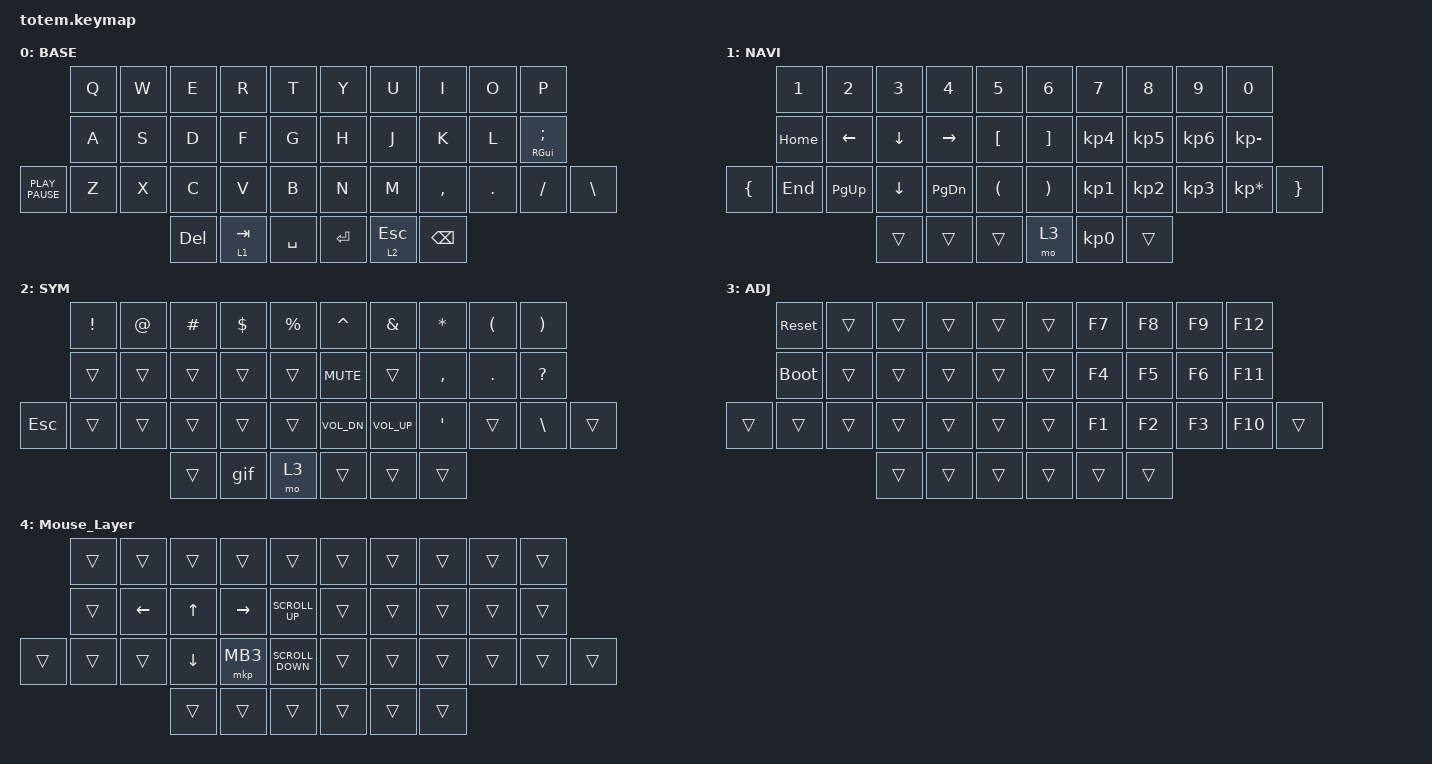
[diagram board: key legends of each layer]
//
//                                                        ▀▀▀▀▀     ▀▀▀▀▀          ▀▀█▀▀
//                                                        ▄▀▀▀▄  ▄  ▄▀▀▀▄  ▄  ▄▀▀▀▄  █  ▄▀▀▀▄
//                                                        █   █  █  █   █  █  █   █  █  █   █
//                                                         ▀▀▀   █   ▀▀▀   █   ▀▀▀   ▀   ▀▀▀
//                                                               █      ▄▄▄█▄▄▄    █   █  
//                                                               ▀      █  █  █     █▄█
//                                                             ▀▀▀▀▀    █  █  █      ▀
//                                                                      ▀  ▀  ▀
//
// ▄▄▄▄▄▄▄▄▄▄▄▄▄▄▄▄▄▄▄▄▄▄▄▄▄▄▄▄▄▄▄▄▄▄▄▄▄▄▄▄▄▄▄▄▄▄▄▄▄▄▄▄▄▄▄▄▄▄▄▄▄▄▄▄▄▄▄▄▄▄▄▄▄▄▄▄▄▄▄▄▄▄▄▄▄▄▄▄▄▄▄▄▄▄▄▄▄▄▄▄▄▄▄▄▄▄▄▄▄▄▄▄▄▄▄▄▄▄▄▄▄▄▄▄▄▄▄▄▄▄▄▄▄▄▄▄▄▄▄▄▄▄▄▄▄▄▄▄▄

#include <behaviors.dtsi>
#include <dt-bindings/zmk/keys.h>
#include <dt-bindings/zmk/mouse.h>

#define BASE 0
#define NAV  1
#define SYM  2
#define ADJ  3
#define TVP1 4
#define TVP2 5

&mt {
    quick-tap-ms = <100>;
    global-quick-tap;
    flavor = "tap-preferred";
    tapping-term-ms = <170>;
};

/ {
    combos {
        compatible = "zmk,combos";

        combo_esc {
            timeout-ms = <50>;
            key-positions = <0 1>;
            bindings = <&kp ESC>;
        };

        combo_tvp {
            timeout-ms = <100>;
            key-positions = <11 12 13>;
            bindings = <&tog 0>;
        };
    };

    macros {
        gif: gif {
            label = "giphy";
            compatible = "zmk,behavior-macro";
            #binding-cells = <0>;
            bindings =
                <&macro_press>,
                <&kp LSHFT>,
                <&macro_tap>,
                <&kp N2>,
                <&macro_release>,
                <&kp LSHFT>,
                <&macro_tap>,
                <&kp G &kp I &kp F>;
        };
    };

    keymap {
        compatible = "zmk,keymap";

        // ▄▄▄▄▄▄▄▄▄▄▄▄▄▄▄▄▄▄▄▄▄▄▄▄▄▄▄▄▄▄▄▄▄▄▄▄▄▄▄▄▄▄▄▄▄▄▄▄▄▄▄▄▄▄▄▄▄▄▄▄▄▄▄▄▄▄▄▄▄▄▄▄▄▄▄▄▄▄▄▄▄▄▄▄▄▄▄▄▄▄▄▄▄▄▄▄▄▄▄▄▄▄▄▄▄▄▄▄▄▄▄▄▄▄▄▄▄▄▄▄▄▄▄▄▄▄▄▄▄▄▄▄▄▄▄▄▄▄▄▄▄▄▄▄▄▄▄▄▄

        base_layer {
            // ┏━━━━━━━━━━━━━━━━━━━━━━━━━━━━━━━━━━━━━━━┓

            label = "BASE";

            // ┗━━━━━━━━━━━━━━━━━━━━━━━━━━━━━━━━━━━━━━━┛
            //             ┏━━━━━━━━━━━┳━━━━━━━━━━━┳━━━━━━━━━━━┳━━━━━━━━━━━┳━━━━━━━━━━━┓   ┏━━━━━━━━━━━┳━━━━━━━━━━━┳━━━━━━━━━━━┳━━━━━━━━━━━┳━━━━━━━━━━━┓
            //             ┃     Q     ┃     W     ┃     F     ┃     P     ┃     G     ┃   ┃     J     ┃     L     ┃     U     ┃     Y     ┃     ;     ┃
            //             ┣━━━━━━━━━━━╋━━━━━━━━━━━╋━━━━━━━━━━━╋━━━━━━━━━━━╋━━━━━━━━━━━┫   ┣━━━━━━━━━━━╋━━━━━━━━━━━╋━━━━━━━━━━━╋━━━━━━━━━━━╋━━━━━━━━━━━┫
            //             ┃     A     ┃     R     ┃     S     ┃     T     ┃     D     ┃   ┃     H     ┃     N     ┃     E     ┃     I     ┃     O     ┃
            // ┏━━━━━━━━━━━╋━━━━━━━━━━━╋━━━━━━━━━━━╋━━━━━━━━━━━╋━━━━━━━━━━━╋━━━━━━━━━━━┫   ┣━━━━━━━━━━━╋━━━━━━━━━━━╋━━━━━━━━━━━╋━━━━━━━━━━━╋━━━━━━━━━━━╋━━━━━━━━━━━┓
            // ┃     Q     ┃     Z     ┃     X     ┃     C     ┃     V     ┃     B     ┃   ┃     K     ┃     M     ┃     ,     ┃     .     ┃     /     ┃     \     ┃
            // ┗━━━━━━━━━━━┻━━━━━━━━━━━┻━━━━━━━━━━━╋━━━━━━━━━━━╋━━━━━━━━━━━╋━━━━━━━━━━━┫   ┣━━━━━━━━━━━╋━━━━━━━━━━━╋━━━━━━━━━━━╋━━━━━━━━━━━┻━━━━━━━━━━━┻━━━━━━━━━━━┛
            //                                     ┃    DEL    ┃    TAB    ┃    SPC    ┃   ┃   ENTER   ┃           ┃   BSPC    ┃
            //                                     ┗━━━━━━━━━━━┻━━━━━━━━━━━┻━━━━━━━━━━━┛   ┗━━━━━━━━━━━┻━━━━━━━━━━━┻━━━━━━━━━━━┛

            bindings = <
                  &kp Q  &kp W  &kp E    &kp R      &kp T        &kp Y    &kp U      &kp I      &kp O    &kp P
                  &kp A  &kp S  &kp D    &kp F      &kp G        &kp H    &kp J      &kp K      &kp L    &mt RGUI SEMICOLON
&kp K_PLAY_PAUSE  &kp Z  &kp X  &kp C    &kp V      &kp B        &kp N    &kp M      &kp COMMA  &kp DOT  &kp FSLH            &kp BSLH
                                &kp DEL  &lt 1 TAB  &kp SPACE    &kp RET  &lt 2 ESC  &kp BSPC
            >;
        };

        // ▄▄▄▄▄▄▄▄▄▄▄▄▄▄▄▄▄▄▄▄▄▄▄▄▄▄▄▄▄▄▄▄▄▄▄▄▄▄▄▄▄▄▄▄▄▄▄▄▄▄▄▄▄▄▄▄▄▄▄▄▄▄▄▄▄▄▄▄▄▄▄▄▄▄▄▄▄▄▄▄▄▄▄▄▄▄▄▄▄▄▄▄▄▄▄▄▄▄▄▄▄▄▄▄▄▄▄▄▄▄▄▄▄▄▄▄▄▄▄▄▄▄▄▄▄▄▄▄▄▄▄▄▄▄▄▄▄▄▄▄▄▄▄▄▄▄▄▄▄

        nav_layer {
            // ┏━━━━━━━━━━━━━━━━━━━━━━━━━━━━━━━━━━━━━━━┓

            label = "NAVI";

            // ┗━━━━━━━━━━━━━━━━━━━━━━━━━━━━━━━━━━━━━━━┛
            //             ┏━━━━━━━━━━━┳━━━━━━━━━━━┳━━━━━━━━━━━┳━━━━━━━━━━━┳━━━━━━━━━━━┓   ┏━━━━━━━━━━━┳━━━━━━━━━━━┳━━━━━━━━━━━┳━━━━━━━━━━━┳━━━━━━━━━━━┓
            //             ┃           ┃           ┃     UP    ┃           ┃     {     ┃   ┃     }     ┃     7     ┃     8     ┃     9     ┃     +     ┃
            //             ┣━━━━━━━━━━━╋━━━━━━━━━━━╋━━━━━━━━━━━╋━━━━━━━━━━━╋━━━━━━━━━━━┫   ┣━━━━━━━━━━━╋━━━━━━━━━━━╋━━━━━━━━━━━╋━━━━━━━━━━━╋━━━━━━━━━━━┫
            //             ┃   SHIFT   ┃   LEFT    ┃    DOWN   ┃   RIGHT   ┃     [     ┃   ┃     ]     ┃     4     ┃     5     ┃     6     ┃     -     ┃
            // ┏━━━━━━━━━━━╋━━━━━━━━━━━╋━━━━━━━━━━━╋━━━━━━━━━━━╋━━━━━━━━━━━╋━━━━━━━━━━━┫   ┣━━━━━━━━━━━╋━━━━━━━━━━━╋━━━━━━━━━━━╋━━━━━━━━━━━╋━━━━━━━━━━━╋━━━━━━━━━━━┓
            // ┃           ┃           ┃   P UP    ┃  C LOCK   ┃  P DOWN   ┃     (     ┃   ┃     )     ┃     1     ┃     2     ┃     3     ┃     *     ┃           ┃
            // ┗━━━━━━━━━━━┻━━━━━━━━━━━┻━━━━━━━━━━━╋━━━━━━━━━━━╋━━━━━━━━━━━╋━━━━━━━━━━━┫   ┣━━━━━━━━━━━╋━━━━━━━━━━━╋━━━━━━━━━━━╋━━━━━━━━━━━┻━━━━━━━━━━━┻━━━━━━━━━━━┛
            //                                     ┃           ┃    TAB    ┃    SPC    ┃   ┃    DEL    ┃     0     ┃           ┃
            //                                     ┗━━━━━━━━━━━┻━━━━━━━━━━━┻━━━━━━━━━━━┛   ┗━━━━━━━━━━━┻━━━━━━━━━━━┻━━━━━━━━━━━┛

            bindings = <
                &kp NUMBER_1  &kp NUMBER_2  &kp NUMBER_3    &kp NUMBER_4  &kp N5      &kp NUMBER_6  &kp N7     &kp N8     &kp N9     &kp N0
                &kp HOME      &kp LEFT      &kp DOWN        &kp RIGHT     &kp LBKT    &kp RBKT      &kp KP_N4  &kp KP_N5  &kp KP_N6  &kp KP_MINUS
&kp LEFT_BRACE  &kp END       &kp PG_UP     &kp DOWN_ARROW  &kp PG_DN     &kp LPAR    &kp RPAR      &kp KP_N1  &kp KP_N2  &kp KP_N3  &kp KP_MULTIPLY  &kp RIGHT_BRACE
                                            &trans          &trans        &trans      &mo 3         &kp KP_N0  &trans
            >;
        };

        // ▄▄▄▄▄▄▄▄▄▄▄▄▄▄▄▄▄▄▄▄▄▄▄▄▄▄▄▄▄▄▄▄▄▄▄▄▄▄▄▄▄▄▄▄▄▄▄▄▄▄▄▄▄▄▄▄▄▄▄▄▄▄▄▄▄▄▄▄▄▄▄▄▄▄▄▄▄▄▄▄▄▄▄▄▄▄▄▄▄▄▄▄▄▄▄▄▄▄▄▄▄▄▄▄▄▄▄▄▄▄▄▄▄▄▄▄▄▄▄▄▄▄▄▄▄▄▄▄▄▄▄▄▄▄▄▄▄▄▄▄▄▄▄▄▄▄▄▄▄

        sim_layer {
            // ┏━━━━━━━━━━━━━━━━━━━━━━━━━━━━━━━━━━━━━━━┓

            label = "SYM";

            // ┗━━━━━━━━━━━━━━━━━━━━━━━━━━━━━━━━━━━━━━━┛
            //             ┏━━━━━━━━━━━┳━━━━━━━━━━━┳━━━━━━━━━━━┳━━━━━━━━━━━┳━━━━━━━━━━━┓   ┏━━━━━━━━━━━┳━━━━━━━━━━━┳━━━━━━━━━━━┳━━━━━━━━━━━┳━━━━━━━━━━━┓
            //             ┃     !     ┃     @     ┃     #     ┃     $     ┃     %     ┃   ┃     ˆ     ┃     &     ┃     Ü     ┃     '     ┃     "     ┃
            //             ┣━━━━━━━━━━━╋━━━━━━━━━━━╋━━━━━━━━━━━╋━━━━━━━━━━━╋━━━━━━━━━━━┫   ┣━━━━━━━━━━━╋━━━━━━━━━━━╋━━━━━━━━━━━╋━━━━━━━━━━━╋━━━━━━━━━━━┫
            //             ┃     Ä     ┃           ┃    SZ     ┃           ┃           ┃   ┃   MUTE    ┃   YEN     ┃   EURO    ┃  POUND    ┃     Ö     ┃
            // ┏━━━━━━━━━━━╋━━━━━━━━━━━╋━━━━━━━━━━━╋━━━━━━━━━━━╋━━━━━━━━━━━╋━━━━━━━━━━━┫   ┣━━━━━━━━━━━╋━━━━━━━━━━━╋━━━━━━━━━━━╋━━━━━━━━━━━╋━━━━━━━━━━━╋━━━━━━━━━━━┓
            // ┃           ┃  EMAIL1   ┃  EMAIL2   ┃           ┃           ┃           ┃   ┃   VOL-    ┃   VOL+    ┃   LAST    ┃   NEXT    ┃     \     ┃           ┃
            // ┗━━━━━━━━━━━┻━━━━━━━━━━━┻━━━━━━━━━━━╋━━━━━━━━━━━╋━━━━━━━━━━━╋━━━━━━━━━━━┫   ┣━━━━━━━━━━━╋━━━━━━━━━━━╋━━━━━━━━━━━╋━━━━━━━━━━━┻━━━━━━━━━━━┻━━━━━━━━━━━┛
            //                                     ┃           ┃    GIF    ┃    ADJ    ┃   ┃           ┃           ┃           ┃
            //                                     ┗━━━━━━━━━━━┻━━━━━━━━━━━┻━━━━━━━━━━━┛   ┗━━━━━━━━━━━┻━━━━━━━━━━━┻━━━━━━━━━━━┛

            bindings = <
            &kp EXCL  &kp AT  &kp HASH  &kp DLLR  &kp PRCNT    &kp CARET     &kp AMPS      &kp ASTERISK  &kp LEFT_PARENTHESIS  &kp RIGHT_PARENTHESIS
            &trans    &trans  &trans    &trans    &trans       &kp C_MUTE    &trans        &kp COMMA     &kp PERIOD            &kp QMARK
&kp ESCAPE  &trans    &trans  &trans    &trans    &trans       &kp C_VOL_DN  &kp C_VOL_UP  &kp SQT       &trans                &kp BSLH               &trans
                              &trans    &gif      &mo 3        &trans        &trans        &trans
            >;
        };

        // ▄▄▄▄▄▄▄▄▄▄▄▄▄▄▄▄▄▄▄▄▄▄▄▄▄▄▄▄▄▄▄▄▄▄▄▄▄▄▄▄▄▄▄▄▄▄▄▄▄▄▄▄▄▄▄▄▄▄▄▄▄▄▄▄▄▄▄▄▄▄▄▄▄▄▄▄▄▄▄▄▄▄▄▄▄▄▄▄▄▄▄▄▄▄▄▄▄▄▄▄▄▄▄▄▄▄▄▄▄▄▄▄▄▄▄▄▄▄▄▄▄▄▄▄▄▄▄▄▄▄▄▄▄▄▄▄▄▄▄▄▄▄▄▄▄▄▄▄▄

        adjust_layer {
            // ┏━━━━━━━━━━━━━━━━━━━━━━━━━━━━━━━━━━━━━━━┓

            label = "ADJ";

            // ┗━━━━━━━━━━━━━━━━━━━━━━━━━━━━━━━━━━━━━━━┛
            //             ┏━━━━━━━━━━━┳━━━━━━━━━━━┳━━━━━━━━━━━┳━━━━━━━━━━━┳━━━━━━━━━━━┓   ┏━━━━━━━━━━━┳━━━━━━━━━━━┳━━━━━━━━━━━┳━━━━━━━━━━━┳━━━━━━━━━━━┓
            //             ┃   RESET   ┃ BT CLEAR  ┃  OUT TOG  ┃           ┃           ┃   ┃           ┃    F7     ┃    F8     ┃    F9     ┃    F12    ┃
            //             ┣━━━━━━━━━━━╋━━━━━━━━━━━╋━━━━━━━━━━━╋━━━━━━━━━━━╋━━━━━━━━━━━┫   ┣━━━━━━━━━━━╋━━━━━━━━━━━╋━━━━━━━━━━━╋━━━━━━━━━━━╋━━━━━━━━━━━┫
            //             ┃ BOOTLOAD  ┃ BT NEXT   ┃           ┃           ┃           ┃   ┃           ┃    F4     ┃    F5     ┃    F6     ┃    F11    ┃
            // ┏━━━━━━━━━━━╋━━━━━━━━━━━╋━━━━━━━━━━━╋━━━━━━━━━━━╋━━━━━━━━━━━╋━━━━━━━━━━━┫   ┣━━━━━━━━━━━╋━━━━━━━━━━━╋━━━━━━━━━━━╋━━━━━━━━━━━╋━━━━━━━━━━━╋━━━━━━━━━━━┓
            // ┃           ┃           ┃ BT PREV   ┃           ┃           ┃           ┃   ┃           ┃    F1     ┃    F2     ┃    F3     ┃    F10    ┃           ┃
            // ┗━━━━━━━━━━━┻━━━━━━━━━━━┻━━━━━━━━━━━╋━━━━━━━━━━━╋━━━━━━━━━━━╋━━━━━━━━━━━┫   ┣━━━━━━━━━━━╋━━━━━━━━━━━╋━━━━━━━━━━━╋━━━━━━━━━━━┻━━━━━━━━━━━┻━━━━━━━━━━━┛
            //                                     ┃           ┃           ┃           ┃   ┃           ┃           ┃           ┃
            //                                     ┗━━━━━━━━━━━┻━━━━━━━━━━━┻━━━━━━━━━━━┛   ┗━━━━━━━━━━━┻━━━━━━━━━━━┻━━━━━━━━━━━┛

            bindings = <
        &sys_reset   &trans  &trans  &trans  &trans    &trans  &kp F7  &kp F8  &kp F9  &kp F12
        &bootloader  &trans  &trans  &trans  &trans    &trans  &kp F4  &kp F5  &kp F6  &kp F11
&trans  &trans       &trans  &trans  &trans  &trans    &trans  &kp F1  &kp F2  &kp F3  &kp F10  &trans
                             &trans  &trans  &trans    &trans  &trans  &trans
            >;
        };

        // ▄▄▄▄▄▄▄▄▄▄▄▄▄▄▄▄▄▄▄▄▄▄▄▄▄▄▄▄▄▄▄▄▄▄▄▄▄▄▄▄▄▄▄▄▄▄▄▄▄▄▄▄▄▄▄▄▄▄▄▄▄▄▄▄▄▄▄▄▄▄▄▄▄▄▄▄▄▄▄▄▄▄▄▄▄▄▄▄▄▄▄▄▄▄▄▄▄▄▄▄▄▄▄▄▄▄▄▄▄▄▄▄▄▄▄▄▄▄▄▄▄▄▄▄▄▄▄▄▄▄▄▄▄▄▄▄▄▄▄▄▄▄▄▄▄▄▄▄▄
        // ▄▄▄▄▄▄▄▄▄▄▄▄▄▄▄▄▄▄▄▄▄▄▄▄▄▄▄▄▄▄▄▄▄▄▄▄▄▄▄▄▄▄▄▄▄▄▄▄▄▄▄▄▄▄▄▄▄▄▄▄▄▄▄▄▄▄▄▄▄▄▄▄▄▄▄▄▄▄▄▄▄▄▄▄▄▄▄▄▄▄▄▄▄▄▄▄▄▄▄▄▄▄▄▄▄▄▄▄▄▄▄▄▄▄▄▄▄▄▄▄▄▄▄▄▄▄▄▄▄▄▄▄▄▄▄▄▄▄▄▄▄▄▄▄▄▄▄▄▄

        Mouse_Layer {
            bindings = <
        &trans  &trans    &trans        &trans     &trans               &trans  &trans  &trans  &trans  &trans
        &trans  &kp LEFT  &kp UP_ARROW  &kp RIGHT  &kp K_SCROLL_UP      &trans  &trans  &trans  &trans  &trans
&trans  &trans  &trans    &kp DOWN      &mkp MB3   &kp K_SCROLL_DOWN    &trans  &trans  &trans  &trans  &trans  &trans
                          &trans        &trans     &trans               &trans  &trans  &trans
            >;
        };
    };
};
